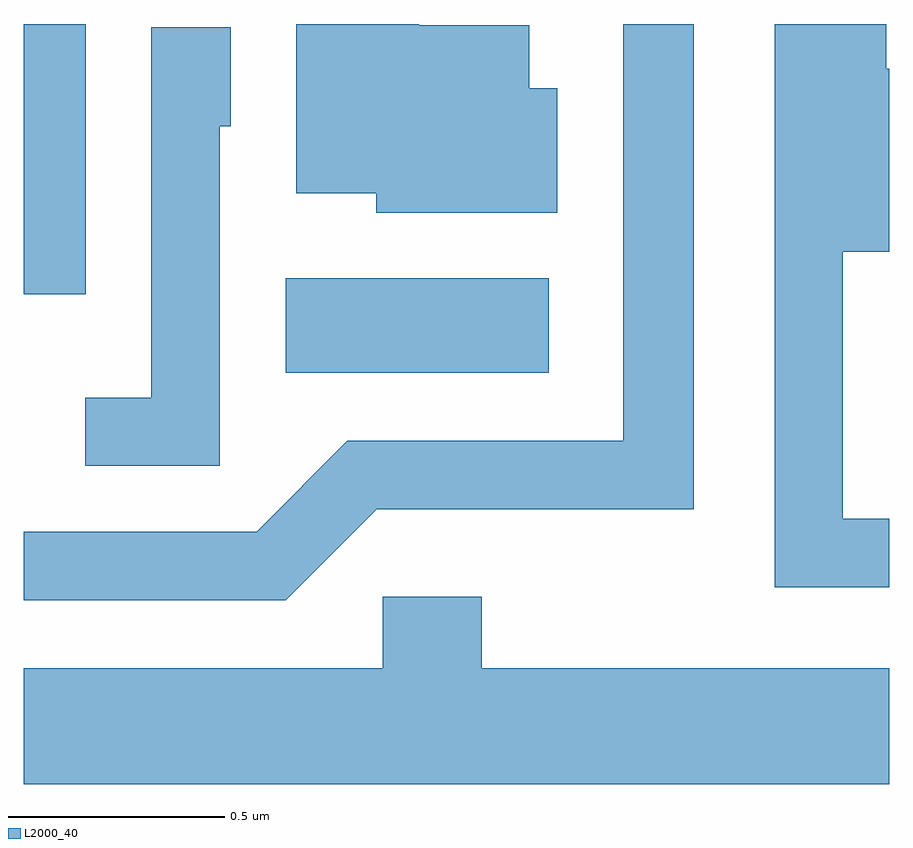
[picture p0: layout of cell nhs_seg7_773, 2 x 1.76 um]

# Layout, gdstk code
import gdstk
lib = gdstk.Library(unit=1e-6, precision=1e-09)
def R(c, l, rs):  # rectangles x0, y0, x1, y1
    for r in rs: c.add(gdstk.rectangle(r[:2], r[2:], *l))
def P(c, l, *ps):  # polygons
    for p in ps: c.add(gdstk.Polygon(p, *l))
L2000_40 = (2000, 40)

nhs_seg7_773 = lib.new_cell('nhs_seg7_773')
R(nhs_seg7_773, L2000_40, [(191.216,1757.446,191.824,1757.664), (190.611,1757.628,190.754,1758.252)])
P(nhs_seg7_773, L2000_40, [(191.427,1757.131),(192.159,1757.131),(192.159,1758.252),(191.996,1758.252),(191.996,1757.289),(191.359,1757.289),(191.149,1757.079),(190.611,1757.079),(190.611,1756.921),(191.217,1756.921)],
  [(191.844,1758.104),(191.779,1758.104),(191.779,1758.249),(191.527,1758.249),(191.524,1758.252),(191.241,1758.252),(191.241,1757.861),(191.426,1757.861),(191.426,1757.816),(191.844,1757.816)],
  [(192.611,1757.109),(192.504,1757.109),(192.504,1757.726),(192.611,1757.726),(192.611,1758.149),(192.604,1758.149),(192.604,1758.252),(192.346,1758.252),(192.346,1756.951),(192.611,1756.951)],
  [(191.064,1758.016),(191.089,1758.016),(191.089,1758.244),(190.906,1758.244),(190.906,1757.389),(190.753,1757.389),(190.753,1757.231),(191.064,1757.231)],
  [(192.611,1756.764),(191.669,1756.764),(191.669,1756.929),(191.441,1756.929),(191.441,1756.764),(190.611,1756.764),(190.611,1756.496),(192.611,1756.496)])

lib.write_gds('nhs_seg7_773.gds')
